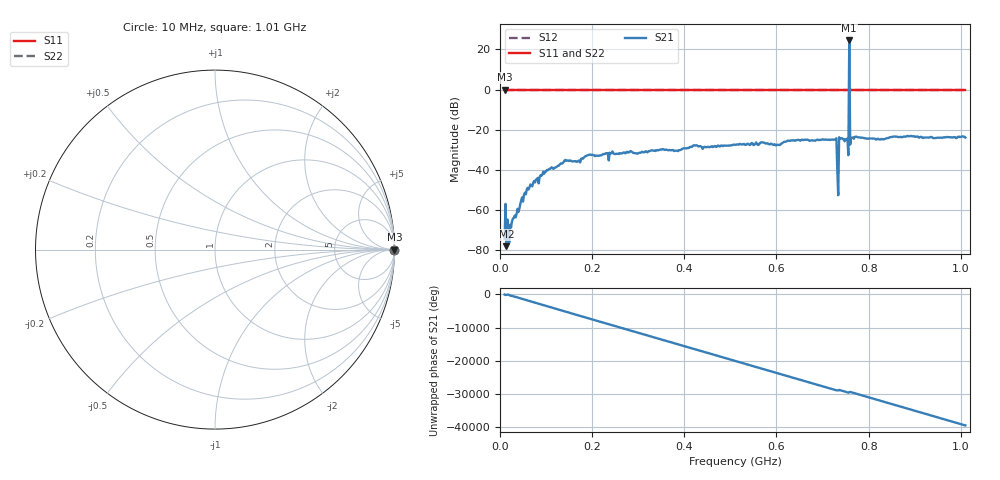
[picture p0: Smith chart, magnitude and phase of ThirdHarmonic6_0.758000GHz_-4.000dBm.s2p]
! 8/16/2025 1:19:57 AM
! C:\ANRITSUVNA\TEMP\TEMP.S2P
! CHANNEL.1
! TR.MEASUREMENT
! RAW.DATA
! RF.CORRECTION.OFF
! AVERAGING.OFF
! IF.BANDWIDTH: 5KHZ
! SWEEPTYPE:  FREQ.SWEEP(Linear)
! Reference Plane Port Info
! PORT:  PORT1  PORT2
! DISTANCE:  0  m  0  m
! TIME:  0  s  0  s
! PHASE.OFFSET:  0  deg.  0  deg.
! LOSS:  0  dB  0  dB
! REF.LOSS:  0  dB  0  dB
! REF.FREQ:  0  Hz  0  Hz
! Power Info
! POWER:  -20  dBm  -20  dBm
! EFF.POWER:  -20  dBm  -20  dBm
! SOURCE.ATTEN:  0  dB  0  dB
! TEST.ATTEN:  0  dB  0  dB
# GHZ S RI R 50.0
! FREQ.GHZ  S11RE  S11IM  S21RE  S21IM  S12RE  S12IM  S22RE  S22IM
!; PortSelection: Port_12
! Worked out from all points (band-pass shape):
!   501 points, 10 MHz to 1.01 GHz, reference 50 ohm
!   highest |S21| = 24.42 dB at 758 MHz (marker M1); lowest = -77.9 dB at 14 MHz (marker M2)
!   |S21| within 3 dB of the highest: 757.8948 MHz to 758.1159 MHz (221.1 kHz wide, 0.0292 % of centre)
!   lowest |S11| = 0.0 dB at 10 MHz (marker M3)
!   |S11| at or under -10 dB: nowhere
!   |S22| runs from 0.0 to 0.0 dB; largest |S21 - S12| = 17
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0.01  1 0  5.16e-05 -0.00019  1 0  1 0
0.014  1 0  -0.000125 -2.52e-05  1 0  1 0
0.018  1 0  -5.83e-05 -0.000363  1 0  1 0
0.056  1 0  -0.000448 0.00243  1 0  1 0
0.09  1 0  -0.00649 0.00313  1 0  1 0
0.142  1 0  -0.0166 -0.00657  1 0  1 0
0.178  1 0  -0.0188 -0.00472  1 0  1 0
0.194  1 0  -0.00329 -0.0237  1 0  1 0
0.344  1 0  0.0302 -0.00594  1 0  1 0
0.51  1 0  -0.0401 0.0135  1 0  1 0
0.678  1 0  -0.0213 -0.0499  1 0  1 0
0.726  1 0  -0.0257 0.0506  1 0  1 0
0.73  1 0  0.0454 -0.0415  1 0  1 0
0.736  1 0  0.0212 0.0616  1 0  1 0
0.74  1 0  0.000798 -0.0611  1 0  1 0
0.752  1 0  -0.0506 0.0301  1 0  1 0
0.754  1 0  0.0215 0.0565  1 0  1 0
0.758  1 0  1.297 16.58  1 0  1 0
0.762  1 0  -0.017 0.0606  1 0  1 0
0.764  1 0  0.0569 0.0276  1 0  1 0
0.844  1 0  0.0409 0.0481  1 0  1 0
1.01  1 0  -0.0613 -0.0185  1 0  1 0
